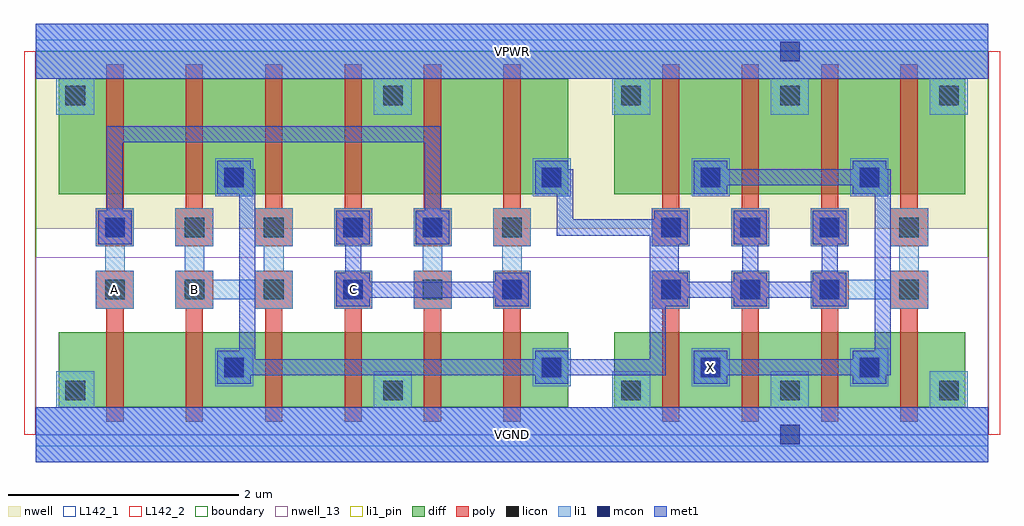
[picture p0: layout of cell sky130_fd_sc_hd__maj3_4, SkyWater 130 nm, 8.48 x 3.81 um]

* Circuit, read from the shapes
.subckt sky130_fd_sc_hd__maj3_4 A B C VGND VPWR X
XM1 n1 A VGND VSUBS sky130_fd_pr__nfet_01v8 w=0.65 l=0.15
XM2 n2 B n1 VSUBS sky130_fd_pr__nfet_01v8 w=0.65 l=0.15
XM3 n3 B n2 VSUBS sky130_fd_pr__nfet_01v8 w=0.65 l=0.15
XM4 VGND C n3 VSUBS sky130_fd_pr__nfet_01v8 w=0.65 l=0.15
XM5 n4 A VGND VSUBS sky130_fd_pr__nfet_01v8 w=0.65 l=0.15
XM6 n2 C n4 VSUBS sky130_fd_pr__nfet_01v8 w=0.65 l=0.15
XM7 X n2 VGND VSUBS sky130_fd_pr__nfet_01v8 w=0.65 l=0.15 m=4
XM8 n5 A VPWR n6 sky130_fd_pr__pfet_01v8 w=1 l=0.15
XM9 n2 B n5 n6 sky130_fd_pr__pfet_01v8 w=1 l=0.15
XM10 n7 B n2 n6 sky130_fd_pr__pfet_01v8 w=1 l=0.15
XM11 VPWR C n7 n6 sky130_fd_pr__pfet_01v8 w=1 l=0.15
XM12 n8 A VPWR n6 sky130_fd_pr__pfet_01v8 w=1 l=0.15
XM13 n2 C n8 n6 sky130_fd_pr__pfet_01v8 w=1 l=0.15
XM14 X n2 VPWR n6 sky130_fd_pr__pfet_01v8 w=1 l=0.15 m=4
.ends

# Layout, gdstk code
import gdstk
lib = gdstk.Library(unit=1e-6, precision=1e-09)
def R(c, l, rs):  # rectangles x0, y0, x1, y1
    for r in rs: c.add(gdstk.rectangle(r[:2], r[2:], *l))
def A(c, l, x, y, w, h, nx, ny, dx, dy):  # array of equal rectangles
    R(c, l, [(x+i*dx, y+j*dy, x+i*dx+w, y+j*dy+h) for i in range(nx) for j in range(ny)])
def P(c, l, *ps):  # polygons
    for p in ps: c.add(gdstk.Polygon(p, *l))
nwell_13 = (64, 13)
nwell = (64, 20)
diff = (65, 20)
poly = (66, 20)
licon = (66, 44)
li1_pin = (67, 16)
li1 = (67, 20)
mcon = (67, 44)
met1 = (68, 20)
L142_1 = (142, 1)
L142_2 = (142, 2)
boundary = (235, 4)

sky130_fd_sc_hd__maj3_4 = lib.new_cell('sky130_fd_sc_hd__maj3_4')
R(sky130_fd_sc_hd__maj3_4, nwell_13, [(0,0,8.28,1.54)])
R(sky130_fd_sc_hd__maj3_4, nwell, [(0,1.79,8.28,3.33)])
A(sky130_fd_sc_hd__maj3_4, diff, 0.615, 0.24, 0.69, 0.65, 5, 1, 0.69, 0)
A(sky130_fd_sc_hd__maj3_4, diff, 5.445, 0.24, 0.69, 0.65, 3, 1, 0.69, 0)
A(sky130_fd_sc_hd__maj3_4, diff, 0.615, 2.09, 0.69, 1, 5, 1, 0.69, 0)
A(sky130_fd_sc_hd__maj3_4, diff, 5.445, 2.09, 0.69, 1, 3, 1, 0.69, 0)
R(sky130_fd_sc_hd__maj3_4, diff, [(0.2,0.24,4.63,0.89), (0.2,0.24,0.615,0.89), (4.065,0.24,4.63,0.89), (5.03,0.24,8.08,0.89), (5.03,0.24,5.445,0.89), (7.515,0.24,8.08,0.89), (0.2,2.09,4.63,3.09), (0.2,2.09,0.615,3.09), (4.065,2.09,4.63,3.09), (5.03,2.09,8.08,3.09), (5.03,2.09,5.445,3.09), (7.515,2.09,8.08,3.09)])
P(sky130_fd_sc_hd__maj3_4, poly, [(1.305,0.11),(1.305,1.095),(1.215,1.095),(1.215,1.425),(1.545,1.425),(1.545,1.095),(1.455,1.095),(1.455,0.11)],
  [(1.995,0.11),(1.995,1.095),(1.905,1.095),(1.905,1.425),(2.235,1.425),(2.235,1.095),(2.145,1.095),(2.145,0.11)],
  [(1.215,1.635),(1.215,1.965),(1.305,1.965),(1.305,3.22),(1.455,3.22),(1.455,1.965),(1.545,1.965),(1.545,1.635)],
  [(1.905,1.635),(1.905,1.965),(1.995,1.965),(1.995,3.22),(2.145,3.22),(2.145,1.965),(2.235,1.965),(2.235,1.635)],
  [(5.445,0.11),(5.445,1.095),(5.355,1.095),(5.355,1.425),(5.685,1.425),(5.685,1.095),(5.595,1.095),(5.595,0.11)],
  [(6.135,0.11),(6.135,1.095),(6.045,1.095),(6.045,1.425),(6.375,1.425),(6.375,1.095),(6.285,1.095),(6.285,0.11)],
  [(6.825,0.11),(6.825,1.095),(6.735,1.095),(6.735,1.425),(7.065,1.425),(7.065,1.095),(6.975,1.095),(6.975,0.11)],
  [(7.515,0.11),(7.515,1.095),(7.425,1.095),(7.425,1.425),(7.755,1.425),(7.755,1.095),(7.665,1.095),(7.665,0.11)],
  [(5.355,1.635),(5.355,1.965),(5.445,1.965),(5.445,3.22),(5.595,3.22),(5.595,1.965),(5.685,1.965),(5.685,1.635)],
  [(6.045,1.635),(6.045,1.965),(6.135,1.965),(6.135,3.22),(6.285,3.22),(6.285,1.965),(6.375,1.965),(6.375,1.635)],
  [(6.735,1.635),(6.735,1.965),(6.825,1.965),(6.825,3.22),(6.975,3.22),(6.975,1.965),(7.065,1.965),(7.065,1.635)],
  [(7.425,1.635),(7.425,1.965),(7.515,1.965),(7.515,3.22),(7.665,3.22),(7.665,1.965),(7.755,1.965),(7.755,1.635)],
  [(2.685,0.11),(2.685,1.095),(2.595,1.095),(2.595,1.425),(2.925,1.425),(2.925,1.095),(2.835,1.095),(2.835,0.11)],
  [(4.065,0.11),(4.065,1.095),(3.975,1.095),(3.975,1.425),(4.305,1.425),(4.305,1.095),(4.215,1.095),(4.215,0.11)],
  [(2.595,1.635),(2.595,1.965),(2.685,1.965),(2.685,3.22),(2.835,3.22),(2.835,1.965),(2.925,1.965),(2.925,1.635)],
  [(3.975,1.635),(3.975,1.965),(4.065,1.965),(4.065,3.22),(4.215,3.22),(4.215,1.965),(4.305,1.965),(4.305,1.635)],
  [(0.615,0.11),(0.615,1.095),(0.525,1.095),(0.525,1.425),(0.855,1.425),(0.855,1.095),(0.765,1.095),(0.765,0.11)],
  [(3.375,0.11),(3.375,1.095),(3.285,1.095),(3.285,1.425),(3.615,1.425),(3.615,1.095),(3.525,1.095),(3.525,0.11)],
  [(0.525,1.635),(0.525,1.965),(0.615,1.965),(0.615,3.22),(0.765,3.22),(0.765,1.965),(0.855,1.965),(0.855,1.635)],
  [(3.285,1.635),(3.285,1.965),(3.375,1.965),(3.375,3.22),(3.525,3.22),(3.525,1.965),(3.615,1.965),(3.615,1.635)])
A(sky130_fd_sc_hd__maj3_4, licon, 5.09, 0.3, 0.17, 0.17, 3, 2, 1.38, 2.56)
A(sky130_fd_sc_hd__maj3_4, licon, 4.4, 0.5, 0.17, 0.17, 3, 2, 1.38, 1.65)
A(sky130_fd_sc_hd__maj3_4, licon, 0.605, 1.175, 0.17, 0.17, 6, 2, 0.69, 0.54)
A(sky130_fd_sc_hd__maj3_4, licon, 5.435, 1.175, 0.17, 0.17, 4, 2, 0.69, 0.54)
R(sky130_fd_sc_hd__maj3_4, licon, [(0.26,0.3,0.43,0.47), (3.02,0.3,3.19,0.47), (1.64,0.5,1.81,0.67), (1.64,2.15,1.81,2.32), (0.26,2.86,0.43,3.03), (3.02,2.86,3.19,3.03)])
R(sky130_fd_sc_hd__maj3_4, li1_pin, [(0,-0.24,8.28,0.24), (5.7,0.42,6.03,0.75), (2.595,1.095,2.925,1.425), (0,3.09,8.28,3.57)])
P(sky130_fd_sc_hd__maj3_4, li1_pin, [(0.525,1.095),(0.525,1.425),(0.605,1.425),(0.605,1.635),(0.525,1.635),(0.525,1.965),(0.855,1.965),(0.855,1.635),(0.775,1.635),(0.775,1.425),(0.855,1.425),(0.855,1.095)],
  [(1.215,1.095),(1.215,1.425),(1.295,1.425),(1.295,1.635),(1.215,1.635),(1.215,1.965),(1.545,1.965),(1.545,1.635),(1.465,1.635),(1.465,1.425),(1.545,1.425),(1.545,1.345),(1.905,1.345),(1.905,1.425),(1.985,1.425),(1.985,1.635),(1.905,1.635),(1.905,1.965),(2.235,1.965),(2.235,1.635),(2.155,1.635),(2.155,1.425),(2.235,1.425),(2.235,1.095),(1.905,1.095),(1.905,1.175),(1.545,1.175),(1.545,1.095)])
A(sky130_fd_sc_hd__maj3_4, li1, 4.32, 0.42, 0.33, 0.33, 3, 2, 1.38, 1.65)
A(sky130_fd_sc_hd__maj3_4, li1, 5.355, 1.635, 0.33, 0.33, 3, 1, 0.69, 0)
R(sky130_fd_sc_hd__maj3_4, li1, [(1.56,0.42,1.89,0.75), (2.595,1.095,2.925,1.425), (5.355,1.095,5.685,1.425), (6.045,1.095,6.375,1.425), (2.595,1.635,2.925,1.965), (1.56,2.07,1.89,2.4)])
P(sky130_fd_sc_hd__maj3_4, li1, [(1.215,1.095),(1.215,1.425),(1.295,1.425),(1.295,1.635),(1.215,1.635),(1.215,1.965),(1.545,1.965),(1.545,1.635),(1.465,1.635),(1.465,1.425),(1.545,1.425),(1.545,1.345),(1.905,1.345),(1.905,1.425),(1.985,1.425),(1.985,1.635),(1.905,1.635),(1.905,1.965),(2.235,1.965),(2.235,1.635),(2.155,1.635),(2.155,1.425),(2.235,1.425),(2.235,1.095),(1.905,1.095),(1.905,1.175),(1.545,1.175),(1.545,1.095)],
  [(6.735,1.095),(6.735,1.425),(7.065,1.425),(7.065,1.345),(7.425,1.345),(7.425,1.425),(7.505,1.425),(7.505,1.635),(7.425,1.635),(7.425,1.965),(7.755,1.965),(7.755,1.635),(7.675,1.635),(7.675,1.425),(7.755,1.425),(7.755,1.095),(7.425,1.095),(7.425,1.175),(7.065,1.175),(7.065,1.095)],
  [(0.18,2.78),(0.18,3.09),(0,3.09),(0,3.57),(8.28,3.57),(8.28,3.09),(8.1,3.09),(8.1,2.78),(7.77,2.78),(7.77,3.09),(6.72,3.09),(6.72,2.78),(6.39,2.78),(6.39,3.09),(5.34,3.09),(5.34,2.78),(5.01,2.78),(5.01,3.09),(3.27,3.09),(3.27,2.78),(2.94,2.78),(2.94,3.09),(0.51,3.09),(0.51,2.78)],
  [(3.975,1.095),(3.975,1.425),(4.055,1.425),(4.055,1.635),(3.975,1.635),(3.975,1.965),(4.305,1.965),(4.305,1.635),(4.225,1.635),(4.225,1.425),(4.305,1.425),(4.305,1.095)],
  [(0,-0.24),(0,0.24),(0.18,0.24),(0.18,0.55),(0.51,0.55),(0.51,0.24),(2.94,0.24),(2.94,0.55),(3.27,0.55),(3.27,0.24),(5.01,0.24),(5.01,0.55),(5.34,0.55),(5.34,0.24),(6.39,0.24),(6.39,0.55),(6.72,0.55),(6.72,0.24),(7.77,0.24),(7.77,0.55),(8.1,0.55),(8.1,0.24),(8.28,0.24),(8.28,-0.24)],
  [(0.525,1.095),(0.525,1.425),(0.605,1.425),(0.605,1.635),(0.525,1.635),(0.525,1.965),(0.855,1.965),(0.855,1.635),(0.775,1.635),(0.775,1.425),(0.855,1.425),(0.855,1.095)],
  [(3.285,1.095),(3.285,1.425),(3.365,1.425),(3.365,1.635),(3.285,1.635),(3.285,1.965),(3.615,1.965),(3.615,1.635),(3.535,1.635),(3.535,1.425),(3.615,1.425),(3.615,1.095)])
A(sky130_fd_sc_hd__maj3_4, mcon, 4.4, 0.5, 0.17, 0.17, 3, 2, 1.38, 1.65)
A(sky130_fd_sc_hd__maj3_4, mcon, 2.675, 1.175, 0.17, 0.17, 3, 1, 1.38, 0)
A(sky130_fd_sc_hd__maj3_4, mcon, 5.435, 1.715, 0.17, 0.17, 3, 1, 0.69, 0)
R(sky130_fd_sc_hd__maj3_4, mcon, [(6.47,-0.085,6.64,0.085), (1.64,0.5,1.81,0.67), (6.125,1.175,6.295,1.345), (6.815,1.175,6.985,1.345), (0.605,1.715,0.775,1.885), (2.675,1.715,2.845,1.885), (3.365,1.715,3.535,1.885), (1.64,2.15,1.81,2.32), (6.47,3.245,6.64,3.415)])
R(sky130_fd_sc_hd__maj3_4, met1, [(0,-0.24,8.28,0.24), (0,3.09,8.28,3.57)])
P(sky130_fd_sc_hd__maj3_4, met1, [(1.58,0.44),(1.58,0.73),(1.77,0.73),(1.77,2.09),(1.58,2.09),(1.58,2.38),(1.87,2.38),(1.87,2.305),(1.91,2.305),(1.91,0.655),(4.34,0.655),(4.34,0.73),(4.63,0.73),(4.63,0.655),(5.335,0.655),(5.335,1.73),(4.53,1.73),(4.53,2.09),(4.34,2.09),(4.34,2.38),(4.63,2.38),(4.63,2.305),(4.67,2.305),(4.67,1.87),(5.375,1.87),(5.375,1.945),(5.665,1.945),(5.665,1.655),(5.59,1.655),(5.59,1.405),(5.665,1.405),(5.665,1.33),(6.065,1.33),(6.065,1.405),(6.14,1.405),(6.14,1.655),(6.065,1.655),(6.065,1.945),(6.355,1.945),(6.355,1.655),(6.28,1.655),(6.28,1.405),(6.355,1.405),(6.355,1.33),(6.755,1.33),(6.755,1.405),(6.83,1.405),(6.83,1.655),(6.755,1.655),(6.755,1.945),(7.045,1.945),(7.045,1.655),(6.97,1.655),(6.97,1.405),(7.045,1.405),(7.045,1.115),(6.755,1.115),(6.755,1.19),(6.355,1.19),(6.355,1.115),(6.065,1.115),(6.065,1.19),(5.665,1.19),(5.665,1.115),(5.475,1.115),(5.475,0.515),(4.63,0.515),(4.63,0.44),(4.34,0.44),(4.34,0.515),(1.87,0.515),(1.87,0.44)],
  [(2.615,1.115),(2.615,1.405),(2.69,1.405),(2.69,1.655),(2.615,1.655),(2.615,1.945),(2.905,1.945),(2.905,1.655),(2.83,1.655),(2.83,1.405),(2.905,1.405),(2.905,1.33),(3.995,1.33),(3.995,1.405),(4.285,1.405),(4.285,1.115),(3.995,1.115),(3.995,1.19),(2.905,1.19),(2.905,1.115)],
  [(0.545,1.655),(0.545,1.945),(0.62,1.945),(0.62,2.68),(3.52,2.68),(3.52,1.945),(3.595,1.945),(3.595,1.655),(3.305,1.655),(3.305,1.945),(3.38,1.945),(3.38,2.54),(0.76,2.54),(0.76,1.945),(0.835,1.945),(0.835,1.655)],
  [(5.72,0.44),(5.72,0.73),(6.01,0.73),(6.01,0.655),(7.1,0.655),(7.1,0.73),(7.29,0.73),(7.29,2.09),(7.1,2.09),(7.1,2.165),(6.01,2.165),(6.01,2.09),(5.72,2.09),(5.72,2.38),(6.01,2.38),(6.01,2.305),(7.1,2.305),(7.1,2.38),(7.39,2.38),(7.39,2.305),(7.43,2.305),(7.43,0.515),(7.39,0.515),(7.39,0.44),(7.1,0.44),(7.1,0.515),(6.01,0.515),(6.01,0.44)])
R(sky130_fd_sc_hd__maj3_4, L142_1, [(0,-0.1,8.28,0), (0,3.33,8.28,3.43)])
R(sky130_fd_sc_hd__maj3_4, L142_2, [(-0.1,0,0,3.33), (8.28,0,8.38,3.33)])
R(sky130_fd_sc_hd__maj3_4, boundary, [(0,0,8.28,3.33)])
sky130_fd_sc_hd__maj3_4.add(gdstk.Label('X', (5.865,0.585), layer=67, texttype=5))
sky130_fd_sc_hd__maj3_4.add(gdstk.Label('C', (2.76,1.26), layer=67, texttype=5))
sky130_fd_sc_hd__maj3_4.add(gdstk.Label('A', (0.69,1.26), layer=67, texttype=5))
sky130_fd_sc_hd__maj3_4.add(gdstk.Label('B', (1.38,1.26), layer=67, texttype=5))
sky130_fd_sc_hd__maj3_4.add(gdstk.Label('VGND', (4.14,0), layer=67, texttype=5))
sky130_fd_sc_hd__maj3_4.add(gdstk.Label('VPWR', (4.14,3.33), layer=67, texttype=5))
sky130_fd_sc_hd__maj3_4.add(gdstk.Label('VGND', (4.14,0), layer=68, texttype=5))
sky130_fd_sc_hd__maj3_4.add(gdstk.Label('VPWR', (4.14,3.33), layer=68, texttype=5))

lib.write_gds('sky130_fd_sc_hd__maj3_4.gds')
